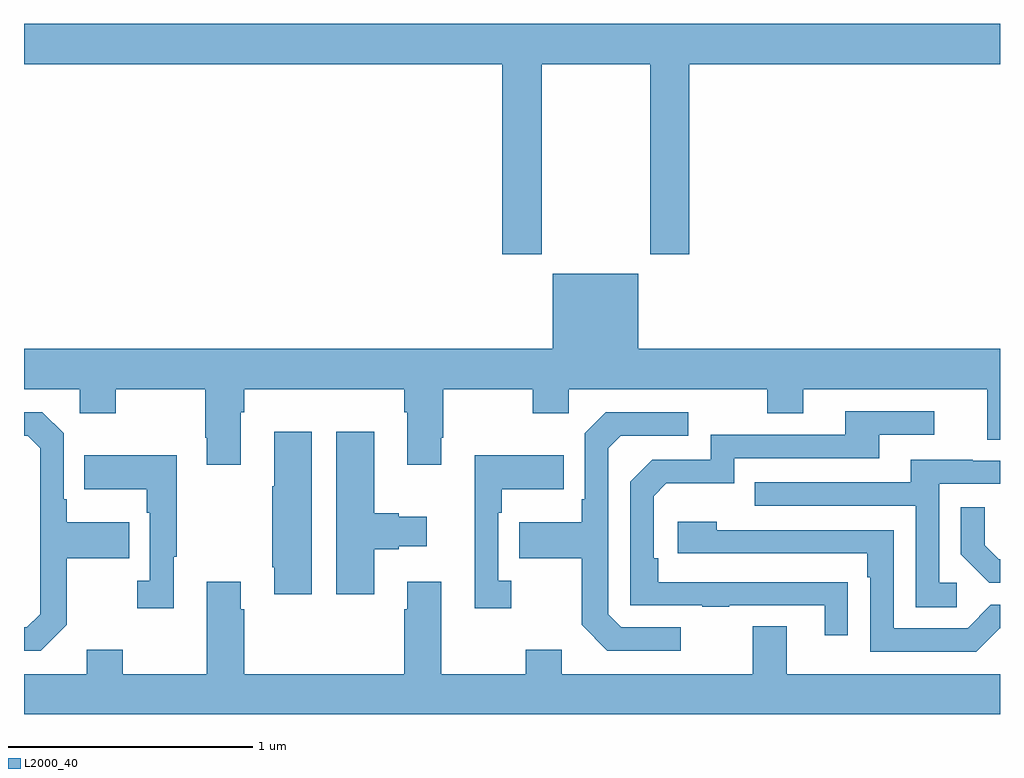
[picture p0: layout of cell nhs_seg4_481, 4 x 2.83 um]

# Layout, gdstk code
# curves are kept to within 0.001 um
import gdstk
lib = gdstk.Library(unit=1e-6, precision=1e-09)
def P(c, l, *ps):  # polygons
    for p in ps: c.add(gdstk.Polygon(p, *l))
L2000_40 = (2000, 40)

nhs_seg4_481 = lib.new_cell('nhs_seg4_481')
P(nhs_seg4_481, L2000_40, [(137.121,770.18),(137.566,770.18),(137.566,769.401),(137.726,769.401),(137.726,770.18),(139,770.18),(139,770.344),(135,770.344),(135,770.18),(136.961,770.18),(136.961,769.401),(137.121,769.401)],
  [(135.889,768.752),(135.902,768.752),(135.902,768.848),(136.559,768.848),(136.559,768.752),(136.571,768.752),(136.571,768.537),(136.711,768.537),(136.711,768.649),(136.719,768.649),(136.719,768.848),(137.086,768.848),(137.086,768.749),(137.232,768.749),(137.232,768.848),(138.046,768.848),(138.046,768.749),(138.193,768.749),(138.193,768.848),(138.947,768.848),(138.947,768.64),(139,768.64),(139,769.012),(137.518,769.012),(137.518,769.321),(137.168,769.321),(137.168,769.012),(135,769.012),(135,768.848),(135.228,768.848),(135.228,768.749),(135.375,768.749),(135.375,768.848),(135.742,768.848),(135.742,768.649),(135.749,768.649),(135.749,768.537),(135.889,768.537)],
  [(138.377,768.056),(137.6,768.057),(137.6,768.154),(137.58,768.154),(137.58,768.408),(137.633,768.461),(137.91,768.461),(137.91,768.564),(138.505,768.564),(138.505,768.66),(138.73,768.66),(138.73,768.756),(138.365,768.756),(138.365,768.66),(137.814,768.66),(137.814,768.558),(137.574,768.558),(137.484,768.468),(137.484,767.961),(137.779,767.961),(137.779,767.956),(137.891,767.956),(137.891,767.961),(138.281,767.961),(138.281,767.838),(138.377,767.838)],
  [(135.175,767.881),(135.175,768.154),(135.431,768.154),(135.431,768.301),(135.175,768.301),(135.175,768.397),(135.162,768.397),(135.162,768.666),(135.075,768.753),(135,768.753),(135,768.657),(135.015,768.657),(135.066,768.606),(135.066,767.925),(135.012,767.871),(135,767.871),(135,767.775),(135.069,767.775)],
  [(137.692,767.871),(137.448,767.871),(137.394,767.925),(137.394,768.606),(137.445,768.657),(137.722,768.657),(137.722,768.753),(137.385,768.753),(137.298,768.666),(137.298,768.397),(137.286,768.397),(137.286,768.301),(137.029,768.301),(137.029,768.154),(137.286,768.154),(137.286,767.881),(137.391,767.775),(137.692,767.775)],
  [(136.435,768.191),(136.535,768.191),(136.535,768.203),(136.651,768.203),(136.651,768.325),(136.535,768.325),(136.535,768.338),(136.435,768.338),(136.435,768.673),(136.28,768.673),(136.28,768.006),(136.435,768.006)],
  [(136.18,768.673),(136.025,768.673),(136.025,768.449),(136.018,768.449),(136.018,768.118),(136.025,768.118),(136.025,768.006),(136.18,768.006)],
  [(136.996,768.062),(136.944,768.062),(136.944,768.341),(136.957,768.341),(136.957,768.437),(137.213,768.437),(137.213,768.577),(136.847,768.577),(136.847,767.949),(136.996,767.949)],
  [(135.613,768.161),(135.625,768.161),(135.625,768.577),(135.247,768.577),(135.247,768.437),(135.504,768.437),(135.504,768.341),(135.516,768.341),(135.516,768.062),(135.465,768.062),(135.465,767.949),(135.613,767.949)],
  [(138.823,768.054),(138.75,768.054),(138.75,768.459),(139,768.459),(139,768.555),(138.889,768.555),(138.889,768.559),(138.635,768.559),(138.635,768.465),(137.995,768.465),(137.995,768.369),(138.654,768.369),(138.654,767.953),(138.823,767.953)],
  [(139,768.15),(138.994,768.15),(138.937,768.207),(138.937,768.364),(138.84,768.364),(138.84,768.17),(138.956,768.054),(139,768.054)],
  [(138.999,767.868),(139,767.964),(138.963,767.964),(138.867,767.868),(138.564,767.868),(138.564,768.27),(137.84,768.27),(137.84,768.304),(137.679,768.304),(137.679,768.174),(138.455,768.174),(138.455,768.077),(138.468,768.077),(138.468,767.772),(138.903,767.772)],
  [(139,767.68),(138.127,767.68),(138.127,767.875),(137.987,767.875),(137.987,767.68),(137.203,767.68),(137.203,767.779),(137.056,767.779),(137.056,767.68),(136.711,767.68),(136.711,768.058),(136.571,768.058),(136.571,767.945),(136.559,767.945),(136.559,767.68),(135.902,767.68),(135.902,767.945),(135.889,767.945),(135.889,768.058),(135.749,768.058),(135.749,767.68),(135.405,767.68),(135.405,767.779),(135.257,767.779),(135.257,767.68),(135,767.68),(135,767.516),(139,767.516)])

lib.write_gds('nhs_seg4_481.gds')
